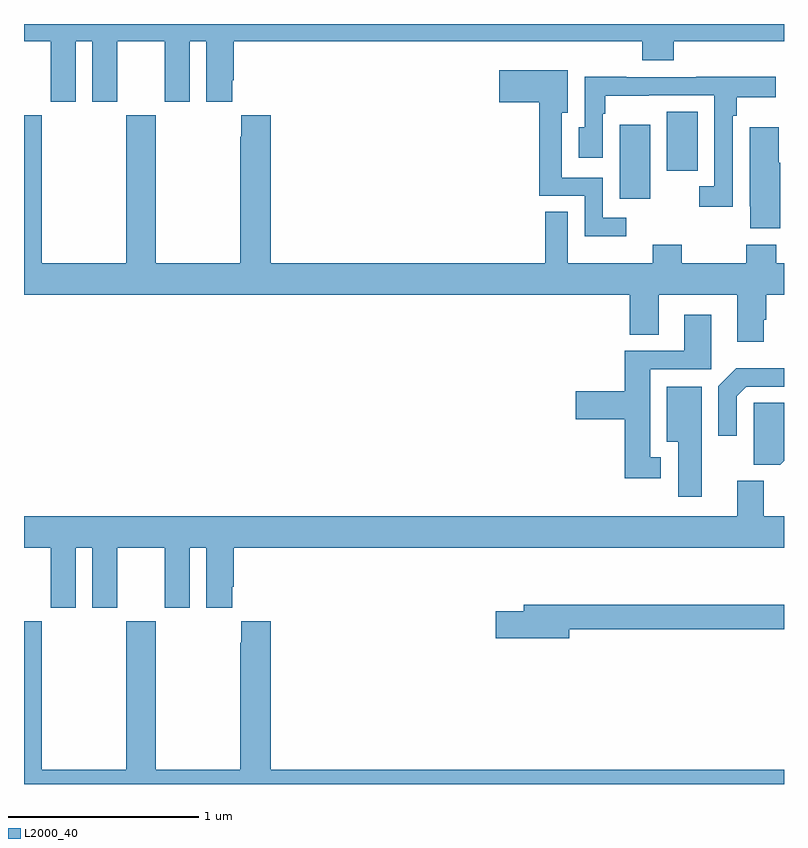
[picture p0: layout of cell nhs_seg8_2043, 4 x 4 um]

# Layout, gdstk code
import gdstk
lib = gdstk.Library(unit=1e-6, precision=1e-09)
def R(c, l, rs):  # rectangles x0, y0, x1, y1
    for r in rs: c.add(gdstk.rectangle(r[:2], r[2:], *l))
def P(c, l, *ps):  # polygons
    for p in ps: c.add(gdstk.Polygon(p, *l))
L2000_40 = (2000, 40)

nhs_seg8_2043 = lib.new_cell('nhs_seg8_2043')
R(nhs_seg8_2043, L2000_40, [(242.135,1140.98,242.296,1141.369), (242.384,1141.128,242.545,1141.439)])
P(nhs_seg8_2043, L2000_40, [(239.272,1141.808),(239.36,1141.808),(239.36,1141.491),(239.491,1141.491),(239.491,1141.808),(239.741,1141.808),(239.741,1141.491),(239.872,1141.491),(239.872,1141.808),(239.96,1141.808),(239.96,1141.491),(240.097,1141.491),(240.097,1141.603),(240.104,1141.603),(240.104,1141.808),(242.255,1141.808),(242.255,1141.709),(242.42,1141.709),(242.42,1141.808),(243,1141.808),(243,1141.9),(239,1141.9),(239,1141.808),(239.141,1141.808),(239.141,1141.491),(239.272,1141.491)],
  [(242.17,1140.879),(242.046,1140.879),(242.046,1141.092),(241.831,1141.092),(241.831,1141.433),(241.861,1141.433),(241.861,1141.657),(241.5,1141.657),(241.5,1141.487),(241.713,1141.487),(241.713,1140.996),(241.95,1140.996),(241.95,1140.782),(242.17,1140.782)],
  [(242.73,1141.418),(242.75,1141.418),(242.75,1141.514),(242.956,1141.514),(242.956,1141.622),(242.537,1141.622),(242.537,1141.62),(242.171,1141.62),(242.171,1141.622),(241.95,1141.622),(241.95,1141.356),(241.919,1141.356),(241.919,1141.197),(242.046,1141.197),(242.046,1141.427),(242.059,1141.427),(242.059,1141.523),(242.288,1141.523),(242.288,1141.524),(242.634,1141.524),(242.634,1141.047),(242.553,1141.047),(242.553,1140.939),(242.73,1140.939)],
  [(242.893,1140.343),(242.906,1140.343),(242.906,1140.476),(243,1140.476),(243,1140.64),(242.96,1140.64),(242.96,1140.739),(242.8,1140.739),(242.8,1140.64),(242.463,1140.64),(242.463,1140.739),(242.308,1140.739),(242.308,1140.64),(241.861,1140.64),(241.861,1140.911),(241.743,1140.911),(241.743,1140.64),(240.299,1140.64),(240.299,1141.42),(240.143,1141.42),(240.143,1141.307),(240.139,1141.307),(240.139,1140.64),(239.694,1140.64),(239.694,1141.42),(239.539,1141.42),(239.539,1140.64),(239.094,1140.64),(239.094,1141.42),(239,1141.42),(239,1140.476),(242.189,1140.476),(242.189,1140.265),(242.341,1140.265),(242.341,1140.476),(242.753,1140.476),(242.753,1140.228),(242.893,1140.228)],
  [(242.98,1141.17),(242.973,1141.17),(242.973,1141.357),(242.819,1141.357),(242.819,1140.942),(242.822,1140.942),(242.822,1140.824),(242.98,1140.824)],
  [(242.35,1139.621),(242.296,1139.621),(242.296,1140.084),(242.617,1140.084),(242.617,1140.37),(242.474,1140.37),(242.474,1140.18),(242.162,1140.18),(242.162,1139.966),(241.905,1139.966),(241.905,1139.819),(242.162,1139.819),(242.162,1139.508),(242.35,1139.508)],
  [(242.751,1139.94),(242.802,1139.991),(243,1139.991),(243,1140.088),(242.749,1140.088),(242.655,1139.994),(242.655,1139.733),(242.751,1139.733)],
  [(242.566,1139.992),(242.384,1139.992),(242.384,1139.702),(242.444,1139.702),(242.444,1139.412),(242.566,1139.412)],
  [(243,1139.601),(243,1139.906),(242.841,1139.906),(242.841,1139.795),(242.84,1139.795),(242.84,1139.581),(242.979,1139.581)],
  [(239.272,1139.144),(239.36,1139.144),(239.36,1138.827),(239.491,1138.827),(239.491,1139.144),(239.741,1139.144),(239.741,1138.827),(239.872,1138.827),(239.872,1139.144),(239.96,1139.144),(239.96,1138.827),(240.097,1138.827),(240.097,1138.939),(240.104,1138.939),(240.104,1139.144),(243,1139.144),(243,1139.308),(242.893,1139.308),(242.893,1139.496),(242.753,1139.496),(242.753,1139.308),(239,1139.308),(239,1139.144),(239.141,1139.144),(239.141,1138.827),(239.272,1138.827)],
  [(241.87,1138.714),(243,1138.714),(243,1138.843),(241.631,1138.843),(241.631,1138.809),(241.482,1138.809),(241.482,1138.667),(241.87,1138.667)],
  [(243,1137.976),(240.299,1137.976),(240.299,1138.756),(240.143,1138.756),(240.143,1138.643),(240.139,1138.643),(240.139,1137.976),(239.694,1137.976),(239.694,1138.756),(239.539,1138.756),(239.539,1137.976),(239.094,1137.976),(239.094,1138.756),(239,1138.756),(239,1137.9),(243,1137.9)])

lib.write_gds('nhs_seg8_2043.gds')
